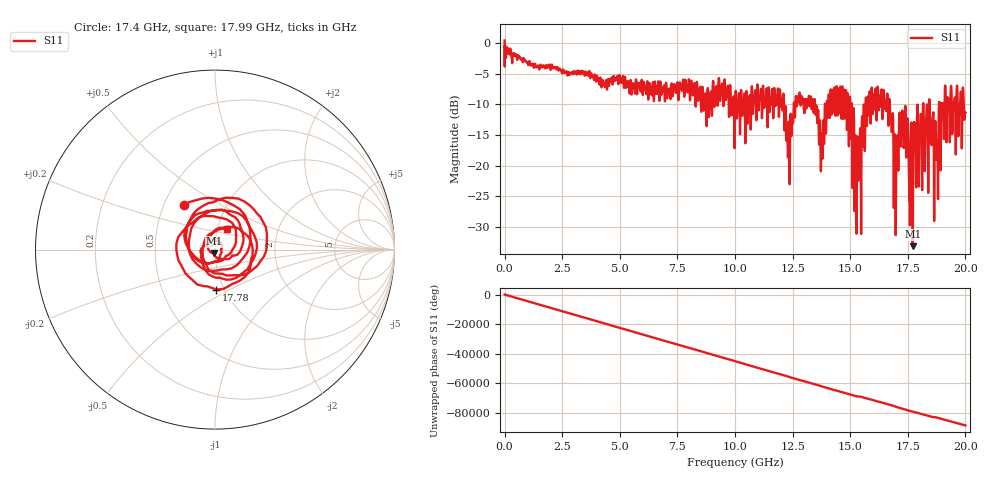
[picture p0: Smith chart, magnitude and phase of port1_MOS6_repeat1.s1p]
! MS46122B
! 2250307/22442219
! 7/23/2025 8:01:16 AM
! C:\USERS\SPARKY\DOCUMENTS\VNA_DATA\JULY23_2025\3K\PORT1_MOS6_REPEAT1.S1P
! CHANNEL.1
! TR.MEASUREMENT
! RAW.DATA
# GHZ S RI R 50.0
! FREQ.GHZ  S11RE  S11IM
!; PortSelection: Port_1
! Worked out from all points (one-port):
!   10001 points, 1 MHz to 20 GHz, reference 50 ohm
!   lowest |S11| = -33.1 dB at 17.71 GHz (marker M1), VSWR 1.05, Z = 49.5 - j2.14 ohm
!   |S11| at or under -10 dB: 13.47 GHz to 13.9 GHz (431 MHz wide, 3.15 % of centre); 15.07 GHz to 15.67 GHz (597.5 MHz wide, 3.89 % of centre); 16.72 GHz to 18.17 GHz (1.448 GHz wide, 8.3 % of centre) (the widest 3 of 86)
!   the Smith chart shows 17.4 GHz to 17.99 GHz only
!   S11 on the Smith chart (normalised r, x): 17.4 GHz: 0.63, +0.35; 17.78 GHz: 0.92, -0.43; 17.99 GHz: 1.11, +0.26
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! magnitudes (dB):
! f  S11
! 1 MHz  0.4
! 2.501 GHz  -4.9
! 5.001 GHz  -5.6
! 7.501 GHz  -6.4
! 9.373 GHz  -8.4
! 10 GHz  -11.8
! 11.78 GHz  -8.6
! 12.31 GHz  -17.3
! 12.5 GHz  -12.4
! 13.29 GHz  -8.8
! 13.73 GHz  -20.9
! 14.24 GHz  -7.6
! 15 GHz  -9.7
! 15.28 GHz  -24.3
! 16.02 GHz  -8.4
! 16.68 GHz  -10.9
! 16.98 GHz  -26.2
! 17.2 GHz  -16.1
! 17.4 GHz  -10.3
! 17.5 GHz  -12.6
! 17.64 GHz  -14.4
! 17.71 GHz  -33.1
! 17.78 GHz  -13.1
! 17.99 GHz  -17.5
! 18.51 GHz  -15.1
! 18.73 GHz  -17.1
! 19.05 GHz  -12.0
! 20 GHz  -11.4
